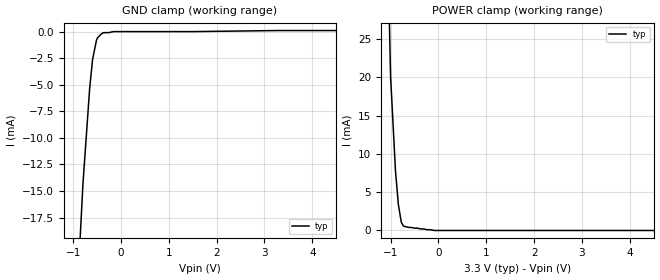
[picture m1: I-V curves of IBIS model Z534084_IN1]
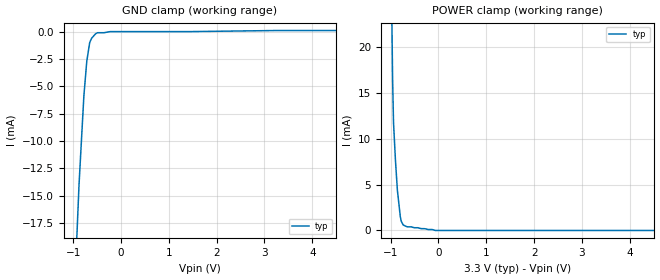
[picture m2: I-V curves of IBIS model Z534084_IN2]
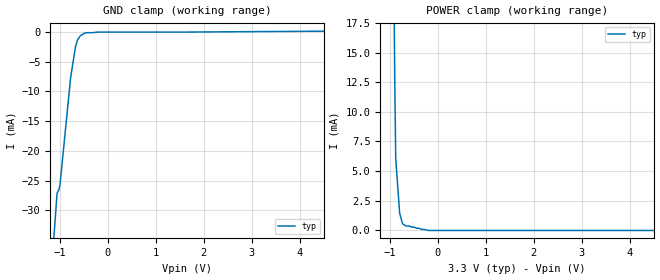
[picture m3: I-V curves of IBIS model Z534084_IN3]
| YOU ARE ONLY AUTHORIZED TO USE THIS SOFTWARE
| ACCORDING TO LICENSOR'S LICENSE RESTRICTIONS.
[IBIS Ver] 3.1
[File Name] mc100lvel39dw_pecl.ibs
[File Rev] 2.0
[Source] Measured and created by ICX Technology
[Date] Friday 7/14/00 9:08:21 AM
[Copyright]
| (C) COPYRIGHT 1993-2000
| MENTOR GRAPHICS CORPORATION
| ICX STANDARD LIBRARY, ICX PROJECT MODELING,
| ICX CUSTOM MODELING, ICX VENDOR MODEL
| ALL RIGHTS RESERVED.
| THE FOLLOWING ARE TRADEMARKS OR SERVICE MARKS OF
| MENTOR GRAPHICS CORPORATION:ICX (R), ICX STANDARD
| LIBRARY(R), ICX PROJECT MODELING(R), ICX CUSTOM
| MODELING(R), qualityIBIS(TM), MODELVIEWER(TM),
| AND MODELEDITOR(TM)
| ALL COPIES OF SOFTWARE, INCLUDING BUT NOT LIMITED TO
| ANY MODIFICATIONS, ENHANCEMENTS OR DERIVATIVE WORKS,
| MUST CONTAIN ALL MENTOR GRAPHICS CORPORATION'S
| NOTICES AND LEGENDS, INCLUDING THOSE EMBEDDED IN
| SOFTWARE AND THOSE AFFIXED TO SOFTWARE MEDIUM
| AND CONTAINER, AS RECEIVED FROM MENTOR GRAPHICS
| CORPORATION.
|  ZAP Model Builder 2.7
[Component] MC100LVEL39DW_PECL
[Manufacturer] OnSemiconductor
[Package]
| variable   typ   min   max
R_pkg  .178ohms NA NA
L_pkg  4.43nH NA NA
C_pkg  .62pF NA NA
[Pin] signal_name  model_name  R_pin  L_pin C_pin
1 VCC POWER .186 5.37n .68p
2 _EN Z534084_IN1 .182 4.89n .65p
3 DIVSELB Z534084_IN2 .178 4.42n .62p
4 CLK Z534084_IN3 .174 3.96n .59p
5 _CLK Z534084_IN3 .17 3.51n .56p
6 VBB POWER .17 3.51n .56p
7 MR Z534084_IN4 .174 3.96n .59p
8 VCC POWER .178 4.42n .62p
9 NC NC .182 4.89n .65p
10 DIVSELA Z534084_IN5 .186 5.37n .68p
11 VEE POWER .186 5.37n .68p
12 _Q3 Z534084_OUT6 .182 4.89n .65p
13 Q3 Z534084_OUT7 .178 4.42n .62p
14 _Q2 Z534084_OUT8 .174 3.96n .59p
15 Q2 Z534084_OUT9 .17 3.51n .56p
16 _Q1 Z534084_OUT8 .17 3.51n .56p
17 Q1 Z534084_OUT9 .174 3.96n .59p
18 _Q0 Z534084_OUT6 .178 4.42n .62p
19 Q0 Z534084_OUT7 .182 4.89n .65p
20 VCC POWER .186 5.37n .68p
| Models and submodels in the file (9): Z534084_IN1 (Input_ECL), Z534084_IN2 (Input_ECL), Z534084_IN3 (Input_ECL), Z534084_IN4 (Input_ECL), Z534084_IN5 (Input_ECL), Z534084_OUT6 (Output_ECL), Z534084_OUT7 (Output_ECL), Z534084_OUT8 (Output_ECL), Z534084_OUT9 (Output_ECL)
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| (C) COPYRIGHT 1993-2000
| MENTOR GRAPHICS CORPORATION
| ICX STANDARD LIBRARY, ICX PROJECT MODELING,
| ICX CUSTOM MODELING, ICX VENDOR MODEL
| ALL RIGHTS RESERVED.
| THE FOLLOWING ARE TRADEMARKS OR SERVICE MARKS OF
| MENTOR GRAPHICS CORPORATION:ICX (R), ICX STANDARD
| LIBRARY(R), ICX PROJECT MODELING(R), ICX CUSTOM
| MODELING(R), qualityIBIS(TM), MODELVIEWER(TM),
| AND MODELEDITOR(TM)
| ALL COPIES OF SOFTWARE, INCLUDING BUT NOT LIMITED TO
| ANY MODIFICATIONS, ENHANCEMENTS OR DERIVATIVE WORKS,
| MUST CONTAIN ALL MENTOR GRAPHICS CORPORATION'S
| NOTICES AND LEGENDS, INCLUDING THOSE EMBEDDED IN
| SOFTWARE AND THOSE AFFIXED TO SOFTWARE MEDIUM
| AND CONTAINER, AS RECEIVED FROM MENTOR GRAPHICS
| CORPORATION.
| Model Application Version 1.89 2/18/99.
[Model] Z534084_IN1
Model_type Input_ECL
Vinl = 2.115V
Vinh = 2.301V
C_comp 4.000pF NA NA
| variable typ   min   max
[Voltage Range] 3.300V NA NA
[GND Clamp Reference] 0.000V NA NA
[POWER Clamp Reference] 3.300V NA NA
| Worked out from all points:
|   GND clamp passes 1 mA (typ) near -0.52 V on its own axis
|   POWER clamp passes 1 mA (typ) near -0.77 V on its own axis
[GND Clamp]
-3.3V     -278mA     NA         NA
-1.038V   -35.7mA    NA         NA
-795mV    -14.4mA    NA         NA
-653mV    -5.3mA     NA         NA
-592mV    -2.6mA     NA         NA
-511mV    -800uA     NA         NA
-491mV    -600uA     NA         NA
-368.2mV  -100uA     NA         NA
-153.7mV  0A         NA         NA
3.286V    100uA      NA         NA
6.6V      100uA      NA         NA
[POWER Clamp]
-3.3V     670.4mA    NA         NA
-1V       20.1mA     NA         NA
-899mV    7.9mA      NA         NA
-838mV    3.4mA      NA         NA
-777mV    1.1mA      NA         NA
-736mV    600uA      NA         NA
-705.5mV  500uA      NA         NA
-84mV     0A         NA         NA
6.6V      0A         NA         NA
| (C) COPYRIGHT 1993-2000
| MENTOR GRAPHICS CORPORATION
| ICX STANDARD LIBRARY, ICX PROJECT MODELING,
| ICX CUSTOM MODELING, ICX VENDOR MODEL
| ALL RIGHTS RESERVED.
| THE FOLLOWING ARE TRADEMARKS OR SERVICE MARKS OF
| MENTOR GRAPHICS CORPORATION:ICX (R), ICX STANDARD
| LIBRARY(R), ICX PROJECT MODELING(R), ICX CUSTOM
| MODELING(R), qualityIBIS(TM), MODELVIEWER(TM),
| AND MODELEDITOR(TM)
| ALL COPIES OF SOFTWARE, INCLUDING BUT NOT LIMITED TO
| ANY MODIFICATIONS, ENHANCEMENTS OR DERIVATIVE WORKS,
| MUST CONTAIN ALL MENTOR GRAPHICS CORPORATION'S
| NOTICES AND LEGENDS, INCLUDING THOSE EMBEDDED IN
| SOFTWARE AND THOSE AFFIXED TO SOFTWARE MEDIUM
| AND CONTAINER, AS RECEIVED FROM MENTOR GRAPHICS
| CORPORATION.
| Model Application Version 1.89 2/18/99.
[Model] Z534084_IN2
Model_type Input_ECL
Vinl = 2.115V
Vinh = 2.301V
C_comp 4.000pF NA NA
| variable typ   min   max
[Voltage Range] 3.300V NA NA
[GND Clamp Reference] 0.000V NA NA
[POWER Clamp Reference] 3.300V NA NA
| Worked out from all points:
|   GND clamp passes 1 mA (typ) near -0.65 V on its own axis
|   POWER clamp passes 1 mA (typ) near -0.78 V on its own axis
[GND Clamp]
-3.3V     -317.8mA   NA         NA
-1.018V   -28.9mA    NA         NA
-876mV    -14mA      NA         NA
-775mV    -5.9mA     NA         NA
-714mV    -2.7mA     NA         NA
-653mV    -1mA       NA         NA
-612mV    -600uA     NA         NA
-531mV    -200uA     NA         NA
-490.3mV  -100uA     NA         NA
-224.8mV  0A         NA         NA
3.225V    100uA      NA         NA
6.6V      100uA      NA         NA
[POWER Clamp]
-3.3V     823.9mA    NA         NA
-1.04V    53mA       NA         NA
-959mV    16.8mA     NA         NA
-939mV    11.8mA     NA         NA
-899mV    7.7mA      NA         NA
-858mV    4.4mA      NA         NA
-797mV    1.5mA      NA         NA
-777mV    1mA        NA         NA
-736mV    600uA      NA         NA
-655mV    400uA      NA         NA
-63.5mV   0A         NA         NA
6.6V      0A         NA         NA
| (C) COPYRIGHT 1993-2000
| MENTOR GRAPHICS CORPORATION
| ICX STANDARD LIBRARY, ICX PROJECT MODELING,
| ICX CUSTOM MODELING, ICX VENDOR MODEL
| ALL RIGHTS RESERVED.
| THE FOLLOWING ARE TRADEMARKS OR SERVICE MARKS OF
| MENTOR GRAPHICS CORPORATION:ICX (R), ICX STANDARD
| LIBRARY(R), ICX PROJECT MODELING(R), ICX CUSTOM
| MODELING(R), qualityIBIS(TM), MODELVIEWER(TM),
| AND MODELEDITOR(TM)
| ALL COPIES OF SOFTWARE, INCLUDING BUT NOT LIMITED TO
| ANY MODIFICATIONS, ENHANCEMENTS OR DERIVATIVE WORKS,
| MUST CONTAIN ALL MENTOR GRAPHICS CORPORATION'S
| NOTICES AND LEGENDS, INCLUDING THOSE EMBEDDED IN
| SOFTWARE AND THOSE AFFIXED TO SOFTWARE MEDIUM
| AND CONTAINER, AS RECEIVED FROM MENTOR GRAPHICS
| CORPORATION.
| Model Application Version 1.89 2/18/99.
[Model] Z534084_IN3
Model_type Input_ECL
Vinl = 2.115V
Vinh = 2.301V
C_comp 4.000pF NA NA
| variable typ   min   max
[Voltage Range] 3.300V NA NA
[GND Clamp Reference] 0.000V NA NA
[POWER Clamp Reference] 3.300V NA NA
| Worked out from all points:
|   GND clamp passes 1 mA (typ) near -0.61 V on its own axis
|   POWER clamp passes 1 mA (typ) near -0.77 V on its own axis
[GND Clamp]
-3.3V     -276.1mA   NA         NA
-1.058V   -27.1mA    NA         NA
-1.018V   -26.5mA    NA         NA
-998mV    -25.7mA    NA         NA
-775mV    -7.6mA     NA         NA
-673mV    -2.4mA     NA         NA
-632mV    -1.3mA     NA         NA
-572mV    -600uA     NA         NA
-490mV    -200uA     NA         NA
-204.7mV  0A         NA         NA
6.6V      267.1uA    NA         NA
[POWER Clamp]
-3.3V     866.7mA    NA         NA
-1.122V   119.3mA    NA         NA
-899mV    12.96mA    NA         NA
-878mV    6.06mA     NA         NA
-797mV    1.465mA    NA         NA
-736mV    568uA      NA         NA
-665mV    375.5uA    NA         NA
-594mV    375.5uA    NA         NA
-193.3mV  0A         NA         NA
6.6V      0A         NA         NA
